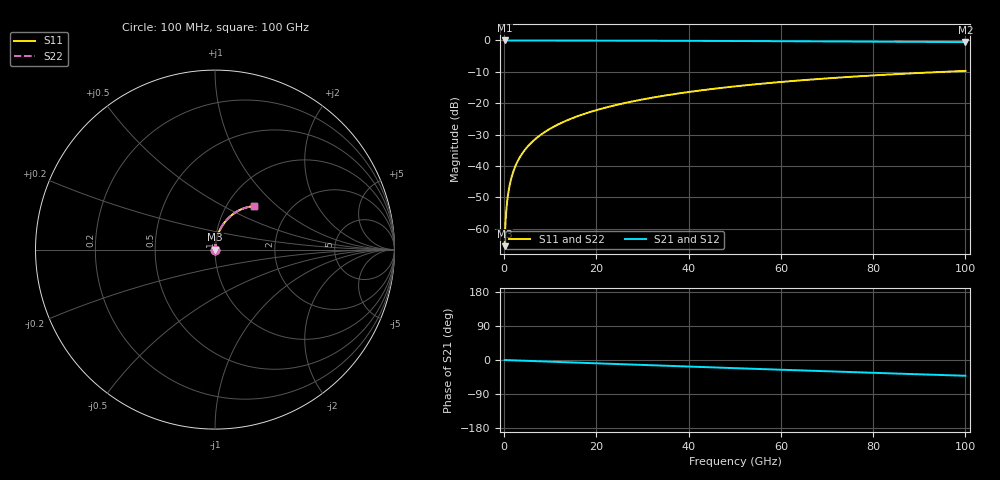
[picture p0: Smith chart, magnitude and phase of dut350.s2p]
! Touchstone file exported from HFSS 2026.1.0
!  File:  C:/ffzhzh/LocalFiles/Ansys_Project_Files/temp_train_TSV_350_1783509999_55944.aedt
!  Generated:  07:27:59 PM Jul  8, 2026
!  Design:  TSV
!  Project:  temp_train_TSV_350_1783509999_55944
! Variables:
!  h_bsmrdl = 2um
!  h_ox = 20um
!  h_rdl = 5um
!  h_sub = 70.42um
!  h_tmrdl = 5um
!  h_tsv = 70.42um
!  h_via = 3um
!  l_bsmrdl = 300um
!  l_sub = 410.76um
!  l_tmrdl = 200um
!  m_sub = 200um
!  pitch = 49.55um
!  r_tsv = 5.38um
!  s_tmrdl = 10um
!  w_bsmrdl = 18um
!  w_sub = 500um
!  w_tmrdl = 12um
!  x_tsv_center1 = 206um
!  x_tsv_center2 = 524um
!  x_tsv_center3 = 736um
!  x_tsv_center4 = 1054um
!  x_tsv_center5 = 1266um
!  x_tsv_center6 = 1584um
# GHz S MA R 50.000000
! Terminal data exported
! Port[1] = TSV1_1_T1
! Port[2] = TSV1_1_T2
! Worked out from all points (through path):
!   1000 points, 100 MHz to 100 GHz, reference 50 ohm
!   highest |S21| = 0.00 dB at 100 MHz (marker M1); lowest = -0.5 dB at 100 GHz (marker M2)
!   group delay of S21, straight-line fit = 1.16 ps
!   lowest |S11| = -65.5 dB at 100 MHz (marker M3), VSWR 1.00, Z = 50 + j0.0429 ohm
!   |S11| at or under -10 dB: start of sweep to 95.17 GHz
!   |S22| runs from -65.5 to -9.7 dB; largest |S21 - S12| = 4e-15
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0.1  0.0005296 54.0  0.9997 -0.0  0.9997 -0.0  0.0005296 54.0
! Gamma 0 0 0 0
! Port Impedance 50 0 50 0
0.4  0.001704 78.3  0.9997 -0.2  0.9997 -0.2  0.001704 78.3
0.7  0.002926 82.6  0.9996 -0.3  0.9996 -0.3  0.002926 82.6
0.8  0.003335 83.2  0.9996 -0.4  0.9996 -0.4  0.003335 83.2
1.1  0.004561 84.5  0.9996 -0.5  0.9996 -0.5  0.004561 84.5
1.4  0.005783 85.0  0.9995 -0.6  0.9995 -0.6  0.005783 85.0
1.9  0.007807 85.5  0.9995 -0.9  0.9995 -0.9  0.007807 85.5
2.4  0.009813 85.6  0.9994 -1.1  0.9994 -1.1  0.009813 85.6
3  0.0122 85.6  0.9993 -1.3  0.9993 -1.3  0.0122 85.6
3.8  0.01535 85.5  0.9991 -1.7  0.9991 -1.7  0.01535 85.5
4.8  0.01927 85.3  0.9989 -2.1  0.9989 -2.1  0.01927 85.3
6  0.02394 85.0  0.9987 -2.7  0.9987 -2.7  0.02394 85.0
8.8  0.03481 84.2  0.9982 -3.9  0.9982 -3.9  0.03481 84.2
12.4  0.0487 82.9  0.9974 -5.4  0.9974 -5.4  0.0487 82.9
16.8  0.06553 81.2  0.9962 -7.4  0.9962 -7.4  0.06553 81.2
24.2  0.09345 78.2  0.9937 -10.6  0.9937 -10.6  0.09345 78.2
33.4  0.1274 74.5  0.9896 -14.5  0.9896 -14.5  0.1274 74.5
41.2  0.1552 71.2  0.9853 -17.8  0.9853 -17.8  0.1552 71.2
50.1  0.1858 67.6  0.9798 -21.6  0.9798 -21.6  0.1858 67.6
66.7  0.239 60.8  0.9679 -28.4  0.9679 -28.4  0.239 60.9
83.4  0.2866 54.2  0.9547 -35.1  0.9547 -35.1  0.2866 54.2
100  0.3274 47.8  0.9413 -41.6  0.9413 -41.6  0.3274 47.8
